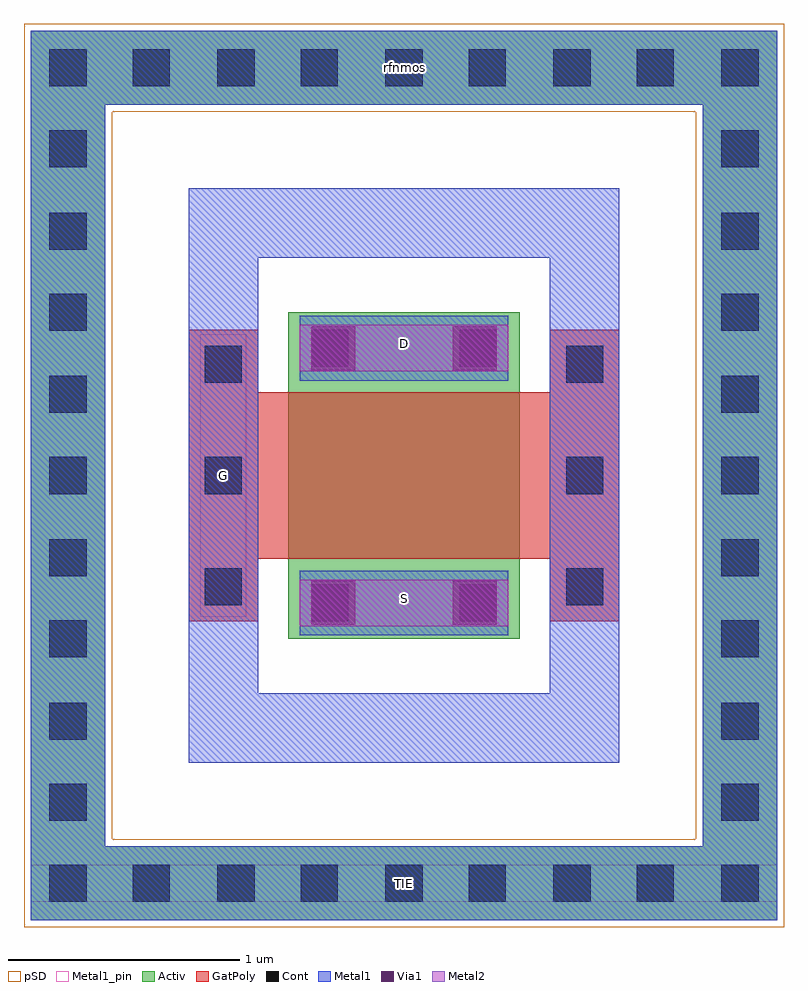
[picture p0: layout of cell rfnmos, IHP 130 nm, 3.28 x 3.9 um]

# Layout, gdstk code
import gdstk
lib = gdstk.Library(unit=1e-6, precision=1e-09)
def R(c, l, rs):  # rectangles x0, y0, x1, y1
    for r in rs: c.add(gdstk.rectangle(r[:2], r[2:], *l))
def A(c, l, x, y, w, h, nx, ny, dx, dy):  # array of equal rectangles
    R(c, l, [(x+i*dx, y+j*dy, x+i*dx+w, y+j*dy+h) for i in range(nx) for j in range(ny)])
def P(c, l, *ps):  # polygons
    for p in ps: c.add(gdstk.Polygon(p, *l))
Activ = (1, 0)
GatPoly = (5, 0)
Cont = (6, 0)
Metal1 = (8, 0)
Metal1_pin = (8, 2)
Metal2 = (10, 0)
pSD = (14, 0)
Via1 = (19, 0)

rfnmos = lib.new_cell('rfnmos')
R(rfnmos, Activ, [(1.14,1.245,2.14,2.655)])
P(rfnmos, Activ, [(0.03,0.03),(0.03,3.87),(2.93,3.87),(2.93,3.55),(0.35,3.55),(0.35,0.35),(2.93,0.35),(2.93,3.87),(3.25,3.87),(3.25,0.03)])
P(rfnmos, GatPoly, [(0.71,1.32),(0.71,2.58),(1.01,2.58),(1.01,2.31),(2.27,2.31),(2.27,2.58),(2.57,2.58),(2.57,1.32),(2.27,1.32),(2.27,1.59),(1.01,1.59),(1.01,1.32)])
A(rfnmos, Cont, 0.11, 0.11, 0.16, 0.16, 1, 3, 0, 0.35)
A(rfnmos, Cont, 3.01, 0.11, 0.16, 0.16, 1, 3, 0, 0.35)
A(rfnmos, Cont, 0.78, 1.39, 0.16, 0.16, 1, 3, 0, 0.48)
A(rfnmos, Cont, 2.34, 1.39, 0.16, 0.16, 1, 3, 0, 0.48)
R(rfnmos, Cont, [(0.47,0.11,0.63,0.27), (0.835,0.11,0.995,0.27), (1.195,0.11,1.355,0.27), (1.56,0.11,1.72,0.27), (1.92,0.11,2.08,0.27), (2.285,0.11,2.445,0.27), (2.645,0.11,2.805,0.27), (0.11,1.165,0.27,1.325), (3.01,1.165,3.17,1.325), (1.24,1.32,1.4,1.48), (1.88,1.32,2.04,1.48), (0.11,1.515,0.27,1.675), (3.01,1.515,3.17,1.675), (0.11,1.87,0.27,2.03), (3.01,1.87,3.17,2.03), (0.11,2.22,0.27,2.38), (3.01,2.22,3.17,2.38), (1.24,2.42,1.4,2.58), (1.88,2.42,2.04,2.58), (0.11,2.575,0.27,2.735), (3.01,2.575,3.17,2.735), (0.11,2.925,0.27,3.085), (3.01,2.925,3.17,3.085), (0.11,3.28,0.27,3.44), (3.01,3.28,3.17,3.44), (0.11,3.63,0.27,3.79), (0.47,3.63,0.63,3.79), (0.835,3.63,0.995,3.79), (1.195,3.63,1.355,3.79), (1.56,3.63,1.72,3.79), (1.92,3.63,2.08,3.79), (2.285,3.63,2.445,3.79), (2.645,3.63,2.805,3.79), (3.01,3.63,3.17,3.79)])
R(rfnmos, Metal1, [(1.19,1.26,2.09,1.54), (0.76,1.34,0.96,2.56), (2.32,1.34,2.52,2.56), (1.19,2.36,2.09,2.64)])
P(rfnmos, Metal1, [(0.03,0.03),(0.03,3.87),(2.93,3.87),(2.93,3.55),(0.35,3.55),(0.35,0.35),(2.93,0.35),(2.93,3.87),(3.25,3.87),(3.25,0.03)],
  [(0.71,0.71),(0.71,3.19),(2.27,3.19),(2.27,2.89),(1.01,2.89),(1.01,1.01),(2.27,1.01),(2.27,3.19),(2.57,3.19),(2.57,0.71)])
R(rfnmos, Metal1_pin, [(0.03,0.11,3.25,0.27), (1.19,1.26,2.09,1.54), (0.76,1.34,0.96,2.56), (1.19,2.36,2.09,2.64)])
R(rfnmos, Metal2, [(1.19,1.3,2.09,1.5), (1.19,2.4,2.09,2.6)])
P(rfnmos, pSD, [(0,0),(0,3.9),(2.9,3.9),(2.9,3.52),(0.38,3.52),(0.38,0.38),(2.9,0.38),(2.9,3.9),(3.28,3.9),(3.28,0)])
R(rfnmos, Via1, [(1.24,1.305,1.43,1.495), (1.85,1.305,2.04,1.495), (1.24,2.405,1.43,2.595), (1.85,2.405,2.04,2.595)])
rfnmos.add(gdstk.Label('TIE', (1.64,0.19), layer=63, texttype=0))
rfnmos.add(gdstk.Label('rfnmos', (1.64,3.71), layer=63, texttype=0))
rfnmos.add(gdstk.Label('G', (0.86,1.95), layer=63, texttype=0))
rfnmos.add(gdstk.Label('D', (1.64,2.518), layer=63, texttype=0))
rfnmos.add(gdstk.Label('S', (1.64,1.418), layer=63, texttype=0))

lib.write_gds('rfnmos.gds')
